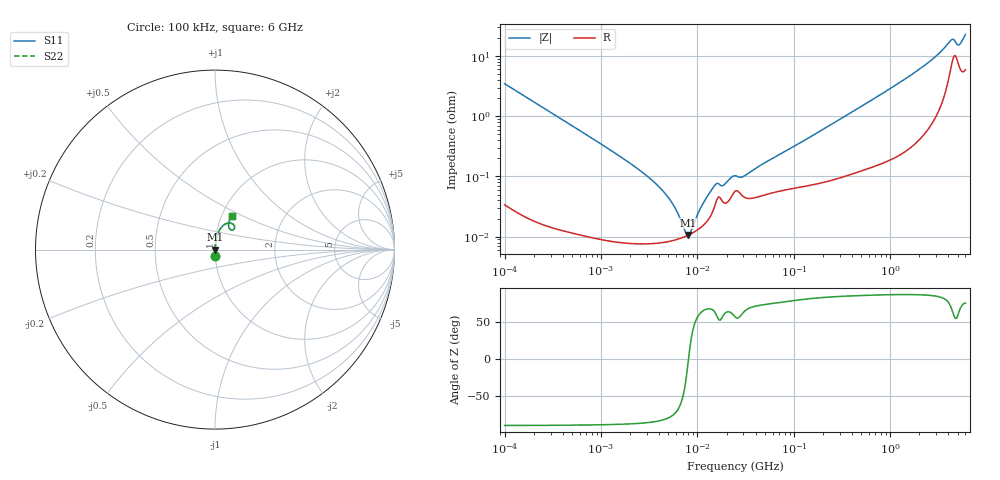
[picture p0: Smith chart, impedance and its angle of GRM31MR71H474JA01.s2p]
!Murata Part Number: GRM31MR71H474JA01
!These Parameters are Measured in Series Mode Connection
!Data Generated on Mar 30, 2021
!  o--ll--o
!Port1  Port2
!  o------o
!Operation Temp=25[degC], DC Bias Voltage=0[V]
!Freq. Start=100[kHz] Stop=6[GHz] 401[Steps]
# Hz S RI R 50
!Freq.(Hz) S11(Real) S11(Imag) S21(Real) S21(Imag) S12(Real) S12(Imag) S22(Real) S22(Imag)
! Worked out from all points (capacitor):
!   401 points, 100 kHz to 6 GHz, reference 50 ohm
!   read as one part in series: C = 457 nF near 105.7 kHz
!   lowest |Z| = 10.6 mohm at 7.931 MHz (marker M1)
!   series resonance near 8.072 MHz, so ESL is about 850 pH
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100000  0.00155 -0.0347  0.9985 0.0347  0.9985 0.0347  0.00155 -0.0347
631452  0.000135 -0.00552  0.9999 0.00552  0.9999 0.00552  0.000135 -0.00552
2118054  7.9e-05 -0.00155  0.9999 0.00155  0.9999 0.00155  7.9e-05 -0.00155
3987316  7.88e-05 -0.000671  0.9999 0.000671  0.9999 0.000671  7.88e-05 -0.000671
5546579  8.61e-05 -0.000338  0.9999 0.000338  0.9999 0.000338  8.61e-05 -0.000338
6364321  9.16e-05 -0.000211  0.9999 0.000211  0.9999 0.000211  9.16e-05 -0.000211
7506273  0.000101 -6.42e-05  0.9999 6.42e-05  0.9999 6.42e-05  0.000101 -6.42e-05
7930766  0.000105 -1.55e-05  0.9999 1.55e-05  0.9999 1.55e-05  0.000105 -1.55e-05
8612937  0.000112 5.77e-05  0.9999 -5.77e-05  0.9999 -5.77e-05  0.000112 5.77e-05
1.133979e7  0.000152 0.000315  0.9998 -0.000315  0.9998 -0.000315  0.000152 0.000315
1.492997e7  0.000306 0.000624  0.9997 -0.000624  0.9997 -0.000624  0.000306 0.000624
1.621418e7  0.000441 0.000632  0.9996 -0.000632  0.9996 -0.000632  0.000441 0.000632
1.860466e7  0.00037 0.000611  0.9996 -0.000611  0.9996 -0.000611  0.00037 0.000611
2.255483e7  0.000465 0.000854  0.9995 -0.000854  0.9995 -0.000854  0.000465 0.000854
2.517799e7  0.000582 0.00084  0.9994 -0.00084  0.9994 -0.00084  0.000582 0.00084
3.05238e7  0.000454 0.000911  0.9995 -0.000911  0.9995 -0.000911  0.000454 0.000911
1.546735e8  0.000747 0.00469  0.9993 -0.00469  0.9993 -0.00469  0.000747 0.00469
9.76689e8  0.00264 0.0282  0.9974 -0.0282  0.9974 -0.0282  0.00264 0.0282
2.420771e9  0.0114 0.0746  0.9886 -0.0746  0.9886 -0.0746  0.0114 0.0746
4.19625e9  0.0786 0.1485  0.9214 -0.1485  0.9214 -0.1485  0.0786 0.1485
5.087202e9  0.0825 0.1142  0.9175 -0.1142  0.9175 -0.1142  0.0825 0.1142
6e9  0.0956 0.1888  0.9044 -0.1888  0.9044 -0.1888  0.0956 0.1888
